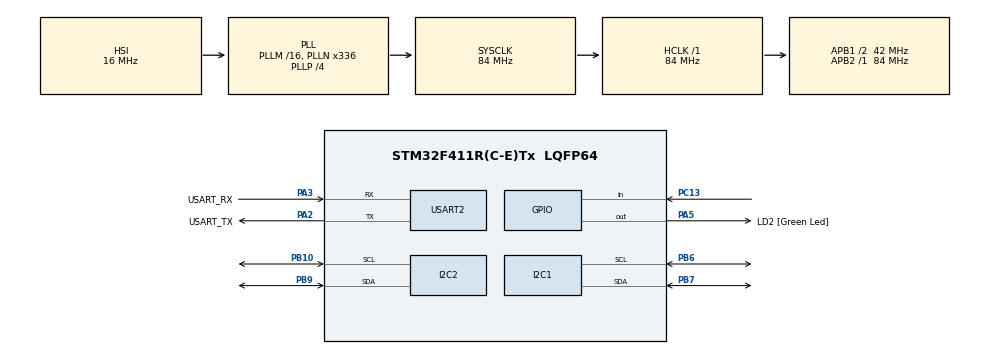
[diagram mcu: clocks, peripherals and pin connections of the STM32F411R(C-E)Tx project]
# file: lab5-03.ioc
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I2C2.OwnAddress=69
Mcu.Family=STM32F4
Mcu.Name=STM32F411R(C-E)Tx
Mcu.Package=LQFP64
NVIC.I2C2_EV_IRQn=true\:0\:0\:false\:false\:true\:true\:true\:true
NVIC.PriorityGroup=NVIC_PRIORITYGROUP_0
PA13.GPIO_Label=TMS
PA13.Mode=Serial_Wire
PA13.Signal=SYS_JTMS-SWDIO
PA14.GPIO_Label=TCK
PA14.Mode=Serial_Wire
PA14.Signal=SYS_JTCK-SWCLK
PA2.GPIO_Label=USART_TX
PA2.Mode=Asynchronous
PA2.Signal=USART2_TX
PA3.GPIO_Label=USART_RX
PA3.Mode=Asynchronous
PA3.Signal=USART2_RX
PA5.GPIO_Label=LD2 [Green Led]
PA5.Signal=GPIO_Output
PB10.Mode=I2C
PB10.Signal=I2C2_SCL
PB3.GPIO_Label=SWO
PB3.Signal=SYS_JTDO-SWO
PB6.GPIO_Pu=GPIO_PULLUP
PB6.Mode=I2C
PB6.Signal=I2C1_SCL
PB7.GPIO_Pu=GPIO_PULLUP
PB7.Mode=I2C
PB7.Signal=I2C1_SDA
PB9.Mode=I2C
PB9.Signal=I2C2_SDA
PC13-ANTI_TAMP.Signal=GPIO_Input
PC14-OSC32_IN.Mode=LSE-External-Oscillator
PC14-OSC32_IN.Signal=RCC_OSC32_IN
PC15-OSC32_OUT.Mode=LSE-External-Oscillator
PC15-OSC32_OUT.Signal=RCC_OSC32_OUT
PH0\ -\ OSC_IN.Mode=HSE-External-Clock-Source
PH0\ -\ OSC_IN.Signal=RCC_OSC_IN
PH1\ -\ OSC_OUT.Mode=HSE-External-Clock-Source
PH1\ -\ OSC_OUT.Signal=RCC_OSC_OUT
ProjectManager.HeapSize=0x200
ProjectManager.StackSize=0x400
ProjectManager.TargetToolchain=STM32CubeIDE
RCC.48MHZClocksFreq_Value=84000000
RCC.AHBFreq_Value=84000000
RCC.APB1CLKDivider=RCC_HCLK_DIV2
RCC.APB1Freq_Value=42000000
RCC.APB1TimFreq_Value=84000000
RCC.APB2Freq_Value=84000000
RCC.APB2TimFreq_Value=84000000
RCC.CortexFreq_Value=84000000
RCC.FLatency-AdvancedSettings=FLASH_LATENCY_2
RCC.HCLKFreq_Value=84000000
RCC.HSE_VALUE=8000000
RCC.HSI_VALUE=16000000
RCC.PLLN=336
RCC.PLLP=RCC_PLLP_DIV4
RCC.SYSCLKFreq_VALUE=84000000
RCC.SYSCLKSource=RCC_SYSCLKSOURCE_PLLCLK
RCC.VCOOutputFreq_Value=336000000
USART2.VirtualMode=VM_ASYNC
board=NUCLEO-F411RE

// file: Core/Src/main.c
/* USER CODE BEGIN Header */
/**
 ******************************************************************************
 * @file           : main.c
 * @brief          : Main program body
 ******************************************************************************
 * @attention
 *
 * Copyright (c) 2024 STMicroelectronics.
 * All rights reserved.
 *
 * This software is licensed under terms that can be found in the LICENSE file
 * in the root directory of this software component.
 * If no LICENSE file comes with this software, it is provided AS-IS.
 *
 ******************************************************************************
 */
/* USER CODE END Header */
#include "main.h"

/* USER CODE BEGIN Includes */
#include <stdbool.h>
/* USER CODE END Includes */

I2C_HandleTypeDef hi2c1;
I2C_HandleTypeDef hi2c2;

UART_HandleTypeDef huart2;

void SystemClock_Config(void);
static void MX_GPIO_Init(void);
static void MX_USART2_UART_Init(void);
static void MX_I2C1_Init(void);
static void MX_I2C2_Init(void);

/* USER CODE BEGIN 0 */
char slaveBuffer[10];

void HAL_I2C_SlaveRxCpltCallback(I2C_HandleTypeDef *hi2c) {
	HAL_I2C_Slave_Receive_IT(&hi2c2, slaveBuffer, 1);

	if (hi2c != &hi2c2) {
		return;
	}

	if (slaveBuffer[0] == 'T') {
		HAL_GPIO_TogglePin(GPIOA, GPIO_PIN_5);
	}
}
/* USER CODE END 0 */

int main(void)
{

  /* MCU Configuration--------------------------------------------------------*/

  /* Reset of all peripherals, Initializes the Flash interface and the Systick. */
  HAL_Init();

  /* Configure the system clock */
  SystemClock_Config();

  /* Initialize all configured peripherals */
  MX_GPIO_Init();
  MX_USART2_UART_Init();
  MX_I2C1_Init();
  MX_I2C2_Init();
  /* USER CODE BEGIN 2 */
  	HAL_I2C_Slave_Receive_IT(&hi2c2, slaveBuffer, 1);
	bool btnOn = false;
	const char *toggleMsg = "T";
  /* USER CODE END 2 */

  /* Infinite loop */
  /* USER CODE BEGIN WHILE */
	while (1) {
		if (HAL_GPIO_ReadPin(GPIOC, GPIO_PIN_13) == GPIO_PIN_RESET) {
			HAL_Delay(10);

			if (!btnOn
					&& HAL_GPIO_ReadPin(GPIOC, GPIO_PIN_13) == GPIO_PIN_RESET) {
				btnOn = true;

				HAL_I2C_Master_Transmit(&hi2c1, 69 << 1, toggleMsg, 1, 10);
			}
		} else {
			btnOn = false;
		}
    /* USER CODE END WHILE */

	}
}

void SystemClock_Config(void)
{
  RCC_OscInitTypeDef RCC_OscInitStruct = {0};
  RCC_ClkInitTypeDef RCC_ClkInitStruct = {0};

  /** Configure the main internal regulator output voltage
  */
  __HAL_RCC_PWR_CLK_ENABLE();
  __HAL_PWR_VOLTAGESCALING_CONFIG(PWR_REGULATOR_VOLTAGE_SCALE1);

  /** Initializes the RCC Oscillators according to the specified parameters
  * in the RCC_OscInitTypeDef structure.
  */
  RCC_OscInitStruct.OscillatorType = RCC_OSCILLATORTYPE_HSI;
  RCC_OscInitStruct.HSIState = RCC_HSI_ON;
  RCC_OscInitStruct.HSICalibrationValue = RCC_HSICALIBRATION_DEFAULT;
  RCC_OscInitStruct.PLL.PLLState = RCC_PLL_ON;
  RCC_OscInitStruct.PLL.PLLSource = RCC_PLLSOURCE_HSI;
  RCC_OscInitStruct.PLL.PLLM = 16;
  RCC_OscInitStruct.PLL.PLLN = 336;
  RCC_OscInitStruct.PLL.PLLP = RCC_PLLP_DIV4;
  RCC_OscInitStruct.PLL.PLLQ = 4;
  if (HAL_RCC_OscConfig(&RCC_OscInitStruct) != HAL_OK)
  {
    Error_Handler();
  }

  /** Initializes the CPU, AHB and APB buses clocks
  */
  RCC_ClkInitStruct.ClockType = RCC_CLOCKTYPE_HCLK|RCC_CLOCKTYPE_SYSCLK
                              |RCC_CLOCKTYPE_PCLK1|RCC_CLOCKTYPE_PCLK2;
  RCC_ClkInitStruct.SYSCLKSource = RCC_SYSCLKSOURCE_PLLCLK;
  RCC_ClkInitStruct.AHBCLKDivider = RCC_SYSCLK_DIV1;
  RCC_ClkInitStruct.APB1CLKDivider = RCC_HCLK_DIV2;
  RCC_ClkInitStruct.APB2CLKDivider = RCC_HCLK_DIV1;

  if (HAL_RCC_ClockConfig(&RCC_ClkInitStruct, FLASH_LATENCY_2) != HAL_OK)
  {
    Error_Handler();
  }
}

static void MX_I2C1_Init(void)
{

  hi2c1.Instance = I2C1;
  hi2c1.Init.ClockSpeed = 100000;
  hi2c1.Init.DutyCycle = I2C_DUTYCYCLE_2;
  hi2c1.Init.OwnAddress1 = 0;
  hi2c1.Init.AddressingMode = I2C_ADDRESSINGMODE_7BIT;
  hi2c1.Init.DualAddressMode = I2C_DUALADDRESS_DISABLE;
  hi2c1.Init.OwnAddress2 = 0;
  hi2c1.Init.GeneralCallMode = I2C_GENERALCALL_DISABLE;
  hi2c1.Init.NoStretchMode = I2C_NOSTRETCH_DISABLE;
  if (HAL_I2C_Init(&hi2c1) != HAL_OK)
  {
    Error_Handler();
  }

}

static void MX_I2C2_Init(void)
{

  hi2c2.Instance = I2C2;
  hi2c2.Init.ClockSpeed = 100000;
  hi2c2.Init.DutyCycle = I2C_DUTYCYCLE_2;
  hi2c2.Init.OwnAddress1 = 138;
  hi2c2.Init.AddressingMode = I2C_ADDRESSINGMODE_7BIT;
  hi2c2.Init.DualAddressMode = I2C_DUALADDRESS_DISABLE;
  hi2c2.Init.OwnAddress2 = 0;
  hi2c2.Init.GeneralCallMode = I2C_GENERALCALL_DISABLE;
  hi2c2.Init.NoStretchMode = I2C_NOSTRETCH_DISABLE;
  if (HAL_I2C_Init(&hi2c2) != HAL_OK)
  {
    Error_Handler();
  }

}

static void MX_USART2_UART_Init(void)
{

  huart2.Instance = USART2;
  huart2.Init.BaudRate = 115200;
  huart2.Init.WordLength = UART_WORDLENGTH_8B;
  huart2.Init.StopBits = UART_STOPBITS_1;
  huart2.Init.Parity = UART_PARITY_NONE;
  huart2.Init.Mode = UART_MODE_TX_RX;
  huart2.Init.HwFlowCtl = UART_HWCONTROL_NONE;
  huart2.Init.OverSampling = UART_OVERSAMPLING_16;
  if (HAL_UART_Init(&huart2) != HAL_OK)
  {
    Error_Handler();
  }

}

static void MX_GPIO_Init(void)
{
  GPIO_InitTypeDef GPIO_InitStruct = {0};

  /* GPIO Ports Clock Enable */
  __HAL_RCC_GPIOC_CLK_ENABLE();
  __HAL_RCC_GPIOH_CLK_ENABLE();
  __HAL_RCC_GPIOA_CLK_ENABLE();
  __HAL_RCC_GPIOB_CLK_ENABLE();

  /*Configure GPIO pin Output Level */
  HAL_GPIO_WritePin(LD2_GPIO_Port, LD2_Pin, GPIO_PIN_RESET);

  /*Configure GPIO pin : PC13 */
  GPIO_InitStruct.Pin = GPIO_PIN_13;
  GPIO_InitStruct.Mode = GPIO_MODE_INPUT;
  GPIO_InitStruct.Pull = GPIO_NOPULL;
  HAL_GPIO_Init(GPIOC, &GPIO_InitStruct);

  /*Configure GPIO pin : LD2_Pin */
  GPIO_InitStruct.Pin = LD2_Pin;
  GPIO_InitStruct.Mode = GPIO_MODE_OUTPUT_PP;
  GPIO_InitStruct.Pull = GPIO_NOPULL;
  GPIO_InitStruct.Speed = GPIO_SPEED_FREQ_LOW;
  HAL_GPIO_Init(LD2_GPIO_Port, &GPIO_InitStruct);

}

void Error_Handler(void)
{
	__disable_irq();
	while (1) {
	}
}
